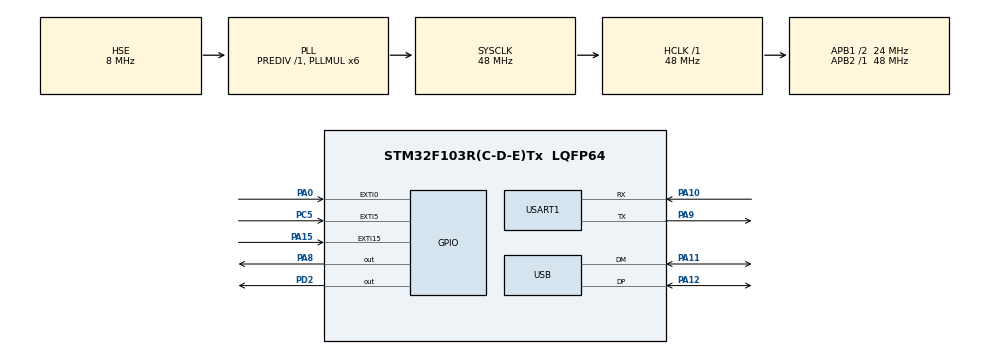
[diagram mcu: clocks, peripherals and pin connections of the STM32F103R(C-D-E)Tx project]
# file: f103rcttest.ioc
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Mcu.Family=STM32F1
Mcu.Name=STM32F103R(C-D-E)Tx
Mcu.Package=LQFP64
NVIC.EXTI0_IRQn=true\:0\:0\:false\:false\:true\:true\:true
NVIC.PriorityGroup=NVIC_PRIORITYGROUP_4
NVIC.TIM1_UP_IRQn=true\:15\:0\:false\:false\:true\:false\:true
NVIC.TimeBase=TIM1_UP_IRQn
NVIC.TimeBaseIP=TIM1
NVIC.USB_LP_CAN1_RX0_IRQn=true\:0\:0\:false\:false\:true\:false\:true
PA0-WKUP.GPIO_ModeDefaultEXTI=GPIO_MODE_IT_RISING
PA0-WKUP.GPIO_PuPd=GPIO_PULLDOWN
PA0-WKUP.Signal=GPXTI0
PA10.Mode=Asynchronous
PA10.Signal=USART1_RX
PA11.Mode=Device
PA11.Signal=USB_DM
PA12.Mode=Device
PA12.Signal=USB_DP
PA13.Mode=Serial_Wire
PA13.Signal=SYS_JTMS-SWDIO
PA14.Mode=Serial_Wire
PA14.Signal=SYS_JTCK-SWCLK
PA15.GPIO_ModeDefaultEXTI=GPIO_MODE_IT_FALLING
PA15.GPIO_PuPd=GPIO_PULLUP
PA15.Signal=GPXTI15
PA8.Signal=GPIO_Output
PA9.Mode=Asynchronous
PA9.Signal=USART1_TX
PC5.GPIO_ModeDefaultEXTI=GPIO_MODE_IT_FALLING
PC5.GPIO_PuPd=GPIO_PULLUP
PC5.Signal=GPXTI5
PD0-OSC_IN.Mode=HSE-External-Oscillator
PD0-OSC_IN.Signal=RCC_OSC_IN
PD1-OSC_OUT.Mode=HSE-External-Oscillator
PD1-OSC_OUT.Signal=RCC_OSC_OUT
PD2.Signal=GPIO_Output
ProjectManager.HeapSize=0x200
ProjectManager.StackSize=0x400
ProjectManager.TargetToolchain=Makefile
RCC.AHBFreq_Value=48000000
RCC.APB1CLKDivider=RCC_HCLK_DIV2
RCC.APB1Freq_Value=24000000
RCC.APB1TimFreq_Value=48000000
RCC.APB2Freq_Value=48000000
RCC.APB2TimFreq_Value=48000000
RCC.HCLKFreq_Value=48000000
RCC.PLLMUL=RCC_PLL_MUL6
RCC.SYSCLKFreq_VALUE=48000000
RCC.SYSCLKSource=RCC_SYSCLKSOURCE_PLLCLK
RCC.USBFreq_Value=48000000
USART1.VirtualMode=VM_ASYNC
USB_DEVICE.CLASS_NAME_FS=CDC
USB_DEVICE.VirtualMode=Cdc
USB_DEVICE.VirtualModeFS=Cdc_FS
VP_SYS_VS_tim1.Mode=TIM1
VP_USB_DEVICE_VS_USB_DEVICE_CDC_FS.Mode=CDC_FS
board=custom

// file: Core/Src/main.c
/* USER CODE BEGIN Header */
/**
  ******************************************************************************
  * @file           : main.c
  * @brief          : Main program body
  ******************************************************************************
  * @attention
  *
  * <h2><center>&copy; Copyright (c) 2021 STMicroelectronics.
  * All rights reserved.</center></h2>
  *
  * This software component is licensed by ST under Ultimate Liberty license
  * SLA0044, the "License"; You may not use this file except in compliance with
  * the License. You may obtain a copy of the License at:
  *                             www.st.com/SLA0044
  *
  ******************************************************************************
  */
/* USER CODE END Header */
#include "main.h"
#include "usb_device.h"

/* USER CODE BEGIN Includes */
#include "usbd_cdc_if.h"
/* USER CODE END Includes */

UART_HandleTypeDef huart1;

void SystemClock_Config(void);
static void MX_GPIO_Init(void);
static void MX_USART1_UART_Init(void);
/* USER CODE BEGIN PFP */
extern void (*CDCReceiveCallback)(uint8_t *Buf, uint32_t len);
uint8_t PA0Pressed = 0;
uint8_t PA15Pressed = 0;
uint8_t PC5Pressed = 0;
/* USER CODE END PFP */

/* USER CODE BEGIN 0 */
 static uint8_t alphabet_map[] = "ABCDEFGHIJKLMNOPQRSTUVWXYZabcdefghijklmnopqrstuvwxyz0123456789+/";

 uint32_t base64_encode(const uint8_t *text, uint32_t text_len, uint8_t *encode)
 {
     uint32_t i, j;
     for (i = 0, j = 0; i+3 <= text_len; i+=3)
     {
         encode[j++] = alphabet_map[text[i]>>2];                             //取出第一个字符的前6位并找出对应的结果字符
         encode[j++] = alphabet_map[((text[i]<<4)&0x30)|(text[i+1]>>4)];     //将第一个字符的后2位与第二个字符的前4位进行组合并找到对应的结果字符
         encode[j++] = alphabet_map[((text[i+1]<<2)&0x3c)|(text[i+2]>>6)];   //将第二个字符的后4位与第三个字符的前2位组合并找出对应的结果字符
         encode[j++] = alphabet_map[text[i+2]&0x3f];                         //取出第三个字符的后6位并找出结果字符
     }

     if (i < text_len)
     {
         uint32_t tail = text_len - i;
         if (tail == 1)
         {
             encode[j++] = alphabet_map[text[i]>>2];
             encode[j++] = alphabet_map[(text[i]<<4)&0x30];
             encode[j++] = '=';
             encode[j++] = '=';
         }
         else //tail==2
         {
             encode[j++] = alphabet_map[text[i]>>2];
             encode[j++] = alphabet_map[((text[i]<<4)&0x30)|(text[i+1]>>4)];
             encode[j++] = alphabet_map[(text[i+1]<<2)&0x3c];
             encode[j++] = '=';
         }
     }
     return j;
 }
void receiveCallback(uint8_t *Buf, uint32_t len)
{
  uint8_t str[20] = "receivedUSB";
  strcat((char *)str, (char *)Buf);
  CDC_Transmit_FS(str, len + 11);
}
void HAL_GPIO_EXTI_Callback(uint16_t GPIO_Pin)
{
  // if (HAL_GPIO_ReadPin(GPIOA, GPIO_PIN_0) == GPIO_PIN_SET)
  // {
  //   PA0Pressed = 1;
  // }
  // if (HAL_GPIO_ReadPin(GPIOA, GPIO_PIN_15) == GPIO_PIN_RESET)
  // {
  //   PA15Pressed = 1;
  // }
  // if (HAL_GPIO_ReadPin(GPIOC, GPIO_PIN_5) == GPIO_PIN_RESET)
  // {
  //   PC5Pressed = 1;
  // }
  __HAL_GPIO_EXTI_CLEAR_IT(GPIO_Pin); //清除引脚中断
}
/* USER CODE END 0 */

int main(void)
{

  /* MCU Configuration--------------------------------------------------------*/

  /* Reset of all peripherals, Initializes the Flash interface and the Systick. */
  HAL_Init();

  /* Configure the system clock */
  SystemClock_Config();

  /* Initialize all configured peripherals */
  MX_GPIO_Init();
  MX_USART1_UART_Init();
  MX_USB_DEVICE_Init();
  /* USER CODE BEGIN 2 */
  CDC_SetReceiveCallback(receiveCallback);
  //CDCReceiveCallback=receiveCallback;
  /* USER CODE END 2 */

  /* Infinite loop */
  while (1)
  {

    /* USER CODE BEGIN 3 */
    HAL_Delay(50);
    HAL_GPIO_WritePin(GPIOA, GPIO_PIN_8, GPIO_PIN_SET);
    HAL_GPIO_WritePin(GPIOD, GPIO_PIN_2, GPIO_PIN_RESET);
    HAL_Delay(50);
    HAL_GPIO_WritePin(GPIOA, GPIO_PIN_8, GPIO_PIN_RESET);
    HAL_GPIO_WritePin(GPIOD, GPIO_PIN_2, GPIO_PIN_SET);
    uint8_t state[10]={0,0,0,0,0,0,0,0,0,0};
    uint8_t encode[16];
    if (HAL_GPIO_ReadPin(GPIOA, GPIO_PIN_0) == GPIO_PIN_SET)
    {
      PA0Pressed = 1;
    }
    if (HAL_GPIO_ReadPin(GPIOA, GPIO_PIN_15) == GPIO_PIN_RESET)
    {
      PA15Pressed = 1;
    }
    if (HAL_GPIO_ReadPin(GPIOC, GPIO_PIN_5) == GPIO_PIN_RESET)
    {
      PC5Pressed = 1;
    }

    state[4] = PA0Pressed ;
    state[5] = PA15Pressed ;
    state[6] = PC5Pressed ;
    base64_encode(state,10,encode);
    PA15Pressed = 0;
    PA0Pressed = 0;
    PC5Pressed = 0;
    uint8_t str[11] = "helloUSB1\n";
    CDC_Transmit_FS(encode, sizeof(encode));

  }
  /* USER CODE END 3 */
}

void SystemClock_Config(void)
{
  RCC_OscInitTypeDef RCC_OscInitStruct = {0};
  RCC_ClkInitTypeDef RCC_ClkInitStruct = {0};
  RCC_PeriphCLKInitTypeDef PeriphClkInit = {0};

  /** Initializes the RCC Oscillators according to the specified parameters
  * in the RCC_OscInitTypeDef structure.
  */
  RCC_OscInitStruct.OscillatorType = RCC_OSCILLATORTYPE_HSE;
  RCC_OscInitStruct.HSEState = RCC_HSE_ON;
  RCC_OscInitStruct.HSEPredivValue = RCC_HSE_PREDIV_DIV1;
  RCC_OscInitStruct.HSIState = RCC_HSI_ON;
  RCC_OscInitStruct.PLL.PLLState = RCC_PLL_ON;
  RCC_OscInitStruct.PLL.PLLSource = RCC_PLLSOURCE_HSE;
  RCC_OscInitStruct.PLL.PLLMUL = RCC_PLL_MUL6;
  if (HAL_RCC_OscConfig(&RCC_OscInitStruct) != HAL_OK)
  {
    Error_Handler();
  }
  /** Initializes the CPU, AHB and APB buses clocks
  */
  RCC_ClkInitStruct.ClockType = RCC_CLOCKTYPE_HCLK | RCC_CLOCKTYPE_SYSCLK | RCC_CLOCKTYPE_PCLK1 | RCC_CLOCKTYPE_PCLK2;
  RCC_ClkInitStruct.SYSCLKSource = RCC_SYSCLKSOURCE_PLLCLK;
  RCC_ClkInitStruct.AHBCLKDivider = RCC_SYSCLK_DIV1;
  RCC_ClkInitStruct.APB1CLKDivider = RCC_HCLK_DIV2;
  RCC_ClkInitStruct.APB2CLKDivider = RCC_HCLK_DIV1;

  if (HAL_RCC_ClockConfig(&RCC_ClkInitStruct, FLASH_LATENCY_1) != HAL_OK)
  {
    Error_Handler();
  }
  PeriphClkInit.PeriphClockSelection = RCC_PERIPHCLK_USB;
  PeriphClkInit.UsbClockSelection = RCC_USBCLKSOURCE_PLL;
  if (HAL_RCCEx_PeriphCLKConfig(&PeriphClkInit) != HAL_OK)
  {
    Error_Handler();
  }
}

static void MX_USART1_UART_Init(void)
{

  huart1.Instance = USART1;
  huart1.Init.BaudRate = 115200;
  huart1.Init.WordLength = UART_WORDLENGTH_8B;
  huart1.Init.StopBits = UART_STOPBITS_1;
  huart1.Init.Parity = UART_PARITY_NONE;
  huart1.Init.Mode = UART_MODE_TX_RX;
  huart1.Init.HwFlowCtl = UART_HWCONTROL_NONE;
  huart1.Init.OverSampling = UART_OVERSAMPLING_16;
  if (HAL_UART_Init(&huart1) != HAL_OK)
  {
    Error_Handler();
  }
}

static void MX_GPIO_Init(void)
{
  GPIO_InitTypeDef GPIO_InitStruct = {0};

  /* GPIO Ports Clock Enable */
  __HAL_RCC_GPIOD_CLK_ENABLE();
  __HAL_RCC_GPIOA_CLK_ENABLE();
  __HAL_RCC_GPIOC_CLK_ENABLE();

  /*Configure GPIO pin Output Level */
  HAL_GPIO_WritePin(GPIOA, GPIO_PIN_8, GPIO_PIN_RESET);

  /*Configure GPIO pin Output Level */
  HAL_GPIO_WritePin(GPIOD, GPIO_PIN_2, GPIO_PIN_RESET);

  /*Configure GPIO pin : PA0 */
  GPIO_InitStruct.Pin = GPIO_PIN_0;
  GPIO_InitStruct.Mode = GPIO_MODE_IT_RISING;
  GPIO_InitStruct.Pull = GPIO_PULLDOWN;
  HAL_GPIO_Init(GPIOA, &GPIO_InitStruct);

  /*Configure GPIO pin : PC5 */
  GPIO_InitStruct.Pin = GPIO_PIN_5;
  GPIO_InitStruct.Mode = GPIO_MODE_IT_FALLING;
  GPIO_InitStruct.Pull = GPIO_PULLUP;
  HAL_GPIO_Init(GPIOC, &GPIO_InitStruct);

  /*Configure GPIO pin : PA8 */
  GPIO_InitStruct.Pin = GPIO_PIN_8;
  GPIO_InitStruct.Mode = GPIO_MODE_OUTPUT_PP;
  GPIO_InitStruct.Pull = GPIO_NOPULL;
  GPIO_InitStruct.Speed = GPIO_SPEED_FREQ_LOW;
  HAL_GPIO_Init(GPIOA, &GPIO_InitStruct);

  /*Configure GPIO pin : PA15 */
  GPIO_InitStruct.Pin = GPIO_PIN_15;
  GPIO_InitStruct.Mode = GPIO_MODE_IT_FALLING;
  GPIO_InitStruct.Pull = GPIO_PULLUP;
  HAL_GPIO_Init(GPIOA, &GPIO_InitStruct);

  /*Configure GPIO pin : PD2 */
  GPIO_InitStruct.Pin = GPIO_PIN_2;
  GPIO_InitStruct.Mode = GPIO_MODE_OUTPUT_PP;
  GPIO_InitStruct.Pull = GPIO_NOPULL;
  GPIO_InitStruct.Speed = GPIO_SPEED_FREQ_LOW;
  HAL_GPIO_Init(GPIOD, &GPIO_InitStruct);

  /* EXTI interrupt init*/
  HAL_NVIC_SetPriority(EXTI0_IRQn, 0, 0);
  HAL_NVIC_EnableIRQ(EXTI0_IRQn);
}

void HAL_TIM_PeriodElapsedCallback(TIM_HandleTypeDef *htim)
{
  if (htim->Instance == TIM1)
  {
    HAL_IncTick();
  }
}

void Error_Handler(void)
{
  __disable_irq();
  while (1)
  {
  }
}

/************************ (C) COPYRIGHT STMicroelectronics *****END OF FILE****/
